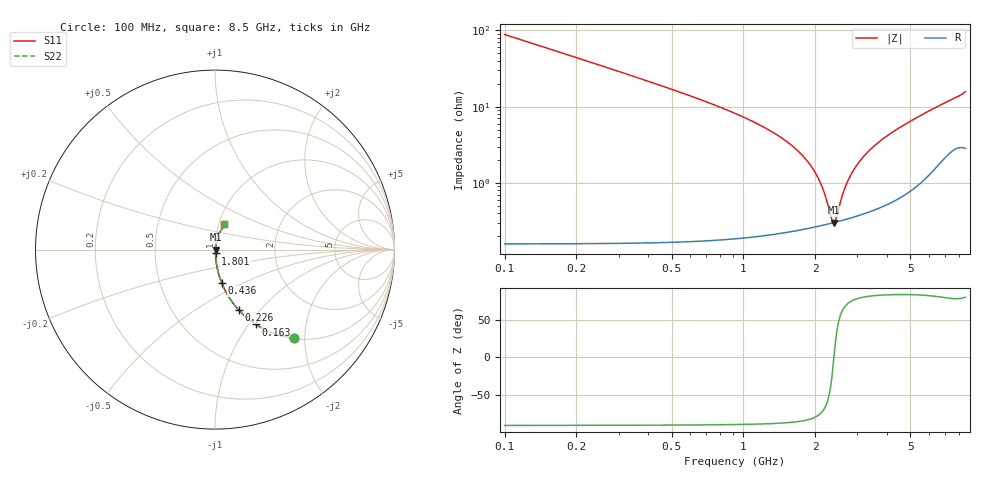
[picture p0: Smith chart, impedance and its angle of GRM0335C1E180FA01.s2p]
!Murata Part Number: GRM0335C1E180FA01
!These Parameters are Measured in Series Mode Connection
!Data Generated on Mar 30, 2021
!  o--ll--o
!Port1  Port2
!  o------o
!Operation Temp=25[degC], DC Bias Voltage=0[V]
!Freq. Start=100[MHz] Stop=9[GHz] 401[Steps]
# Hz S RI R 50
!Freq.(Hz) S11(Real) S11(Imag) S21(Real) S21(Imag) S12(Real) S12(Imag) S22(Real) S22(Imag)
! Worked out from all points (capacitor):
!   401 points, 100 MHz to 8.5 GHz, reference 50 ohm
!   read as one part in series: C = 18 pF near 142 MHz
!   lowest |Z| = 302 mohm at 2.389 GHz (marker M1)
!   series resonance near 2.392 GHz, so ESL is about 250 pH
!   S11 on the Smith chart (normalised r, x): 100 MHz: 1.00, -1.77; 163 MHz: 1.00, -1.08; 226 MHz: 1.00, -0.78; 436 MHz: 1.00, -0.39; 1.801 GHz: 1.00, -0.04; 8.5 GHz: 1.06, +0.31
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1e8  0.438 -0.4952  0.562 0.4952  0.562 0.4952  0.438 -0.4952
1.63e8  0.2264 -0.417  0.7736 0.417  0.7736 0.417  0.2264 -0.417
2.26e8  0.1317 -0.3361  0.8683 0.3361  0.8683 0.3361  0.1317 -0.3361
3.1e8  0.0742 -0.2592  0.9258 0.2592  0.9258 0.2592  0.0742 -0.2592
4.36e8  0.0385 -0.1882  0.9615 0.1882  0.9615 0.1882  0.0385 -0.1882
7.72e8  0.0121 -0.1012  0.9879 0.1012  0.9879 0.1012  0.0121 -0.1012
1.507e9  0.00348 -0.0352  0.9965 0.0352  0.9965 0.0352  0.00348 -0.0352
1.801e9  0.00292 -0.0212  0.9971 0.0212  0.9971 0.0212  0.00292 -0.0212
2.074e9  0.00283 -0.0106  0.9972 0.0106  0.9972 0.0106  0.00283 -0.0106
2.2e9  0.00287 -0.0062  0.9971 0.0062  0.9971 0.0062  0.00287 -0.0062
2.326e9  0.00296 -0.00208  0.997 0.00208  0.997 0.00208  0.00296 -0.00208
2.389e9  0.00301 -9.79e-05  0.997 9.79e-05  0.997 9.79e-05  0.00301 -9.79e-05
2.452e9  0.00308 0.00183  0.9969 -0.00183  0.9969 -0.00183  0.00308 0.00183
2.578e9  0.00324 0.00555  0.9968 -0.00555  0.9968 -0.00555  0.00324 0.00555
2.662e9  0.00336 0.00795  0.9966 -0.00795  0.9966 -0.00795  0.00336 0.00795
2.914e9  0.0038 0.0148  0.9962 -0.0148  0.9962 -0.0148  0.0038 0.0148
3.145e9  0.00429 0.0207  0.9957 -0.0207  0.9957 -0.0207  0.00429 0.0207
3.46e9  0.00509 0.0283  0.9949 -0.0283  0.9949 -0.0283  0.00509 0.0283
4.3e9  0.00806 0.0474  0.9919 -0.0474  0.9919 -0.0474  0.00806 0.0474
5.707e9  0.0171 0.0782  0.9829 -0.0782  0.9829 -0.0782  0.0171 0.0782
7.114e9  0.0341 0.1072  0.9659 -0.1072  0.9659 -0.1072  0.0341 0.1072
8.5e9  0.0492 0.1433  0.9508 -0.1433  0.9508 -0.1433  0.0492 0.1433
